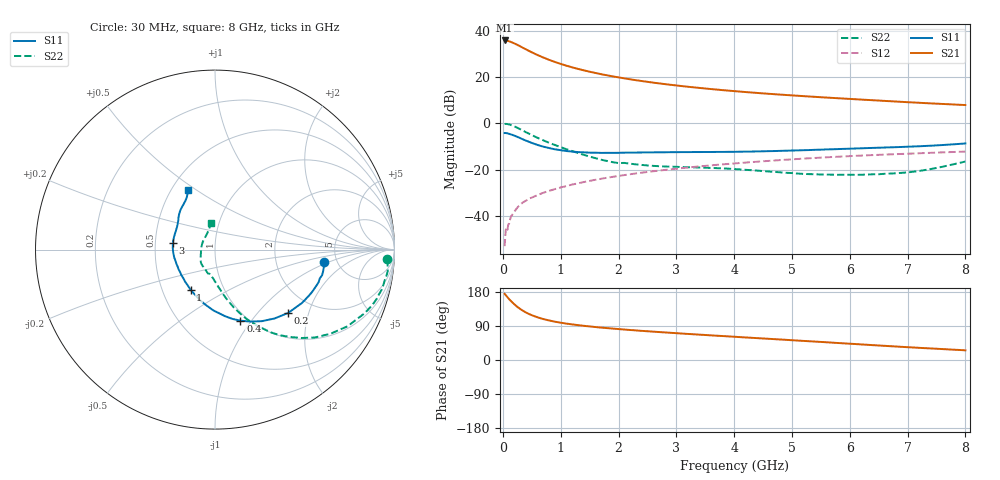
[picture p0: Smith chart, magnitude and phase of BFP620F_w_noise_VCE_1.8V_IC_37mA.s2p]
! Infineon Technologies  Discrete & RF Semiconductors
! BFP620F
! VCE =  1.8 V,  IC =  37 mA
! Common Emitter S-Parameters:  Dec 2014
# GHz  S  MA  R  50
!  f  S11  S21  S12  S22
! GHz  MAG  ANG  MAG  ANG  MAG  ANG  MAG  ANG
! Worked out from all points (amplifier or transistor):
!   95 points, 30 MHz to 8 GHz, reference 50 ohm
!   highest |S21| = 35.8 dB at 30 MHz (marker M1)
!   |S21| within 3 dB of that: start of sweep to 334.4 MHz
!   unconditionally stable (mu >= 1): 2.251 GHz to end of sweep
!   at 300 MHz: K = 0.42, MSG = 34.2 dB, |S12| = -35.2 dB
!   at 3.3 GHz: K = 1.03, MAG = 16.2 dB, |S12| = -18.9 dB
!   at 8 GHz: K = 1.06, MAG = 8.6 dB, |S12| = -12.3 dB
!   lowest NFmin = 1.29 dB at 450 MHz
!   S11 on the Smith chart (normalised r, x): 30 MHz: 3.96, -0.91; 200 MHz: 1.50, -1.49; 400 MHz: 0.92, -0.89; 1 GHz: 0.69, -0.33; 3 GHz: 0.62, +0.05; 8 GHz: 0.60, +0.46
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0.03  0.6138 -6.7  61.64 174.7  0.0022 87.8  0.9605 -3.2
0.07  0.6057 -15.3  60.91 167.4  0.0055 78.3  0.9606 -10.3
0.11  0.5898 -23.7  58.92 160.3  0.0068 79.5  0.9414 -17.0
0.15  0.5683 -31.6  56.59 154.0  0.0099 83.0  0.9045 -23.2
0.2  0.5393 -40.8  53.07 146.8  0.0123 73.3  0.8527 -30.1
0.25  0.5075 -49.1  49.54 140.2  0.015 72.8  0.7966 -36.0
0.3  0.477 -56.7  46.03 134.6  0.0174 71.6  0.742 -41.3
0.35  0.4473 -63.8  42.6 129.7  0.0196 69.5  0.6882 -45.7
0.4  0.4205 -70.3  39.56 125.3  0.0212 68.4  0.6385 -49.6
0.5  0.3753 -81.4  34.18 118.2  0.0247 66.9  0.5548 -56.1
0.6  0.3394 -91.4  29.83 112.6  0.0281 66.7  0.4837 -61.1
0.7  0.3116 -99.9  26.34 108.0  0.0314 66.3  0.4268 -65.4
0.8  0.2909 -107.7  23.47 104.3  0.0345 66.3  0.3787 -68.8
1  0.2618 -121.4  19.19 98.4  0.0409 66.2  0.3046 -74.7
1.4  0.2353 -142.9  13.93 90.2  0.0535 65.7  0.2077 -85.0
1.9  0.2288 -162.4  10.31 82.9  0.0694 64.4  0.144 -99.5
2.7  0.2356 177.2  7.284 73.8  0.0947 60.9  0.1179 -121.4
3  0.2368 171.1  6.563 70.8  0.1041 59.3  0.1144 -127.3
4.1  0.2425 153.6  4.837 60.4  0.1383 52.9  0.1005 -142.1
5.4  0.2664 139.9  3.721 48.6  0.1777 44.3  0.0791 -172.5
6.7  0.3012 127.4  2.995 36.5  0.2123 34.8  0.0816 143.4
8  0.3659 114.5  2.475 25.5  0.2439 25.8  0.1486 98.6
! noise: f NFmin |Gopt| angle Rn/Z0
0.45  1.29  0.13  -172  0.16
0.9  1.32  0.13  -172  0.13
1.5  1.33  0.17  -151  0.11
1.8  1.34  0.18  -151  0.12
1.9  1.35  0.18  -150  0.12
2.4  1.37  0.19  215  0.14
3.5  1.43  0.19  219  0.18
5.5  1.57  0.25  245  0.16
6  1.61  0.26  261  0.18
